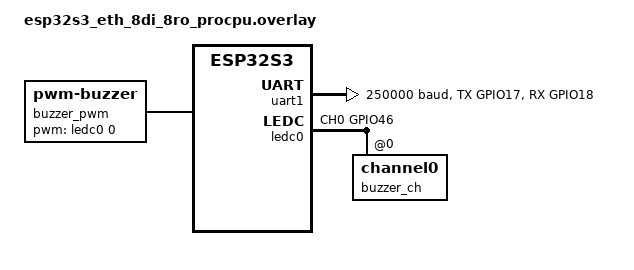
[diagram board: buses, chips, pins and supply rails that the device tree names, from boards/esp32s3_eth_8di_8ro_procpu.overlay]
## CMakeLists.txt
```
# Copyright (C) 2025 - 2026 Wolfenbütteler Kultur- und Veranstaltungsgesellschaft gemeinnützige UG (haftungsbeschränkt)
# SPDX-License-Identifier: Apache-2.0

cmake_minimum_required(VERSION 3.20.0)

# Circumvent Windows commandline length exceeded
SET(CMAKE_C_USE_RESPONSE_FILE_FOR_OBJECTS 1)
SET(CMAKE_CXX_USE_RESPONSE_FILE_FOR_OBJECTS 1)

SET(CMAKE_C_RESPONSE_FILE_LINK_FLAG "@")
SET(CMAKE_CXX_RESPONSE_FILE_LINK_FLAG "@")

SET(CMAKE_NINJA_FORCE_RESPONSE_FILE 1 CACHE INTERNAL "")

# Zephyr cmake commands

find_package(Zephyr REQUIRED HINTS $ENV{ZEPHYR_BASE})
project(blinky)

target_sources(app PRIVATE src/main.c)
target_sources(app PRIVATE src/modules/config/config.c)
target_sources(app PRIVATE src/modules/net/mqtt_subscriber.c)

add_subdirectory(../dmx-z ${CMAKE_BINARY_DIR}/dmx-z)
add_subdirectory(src/modules/output/dmx)
add_subdirectory(src/modules/output/sound)
add_subdirectory(src/modules/show)
add_subdirectory(src/modules/zbus)
```

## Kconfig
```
# SPDX-License-Identifier: Apache-2.0
source "Kconfig.zephyr"
rsource "../dmx-z/Kconfig"
```

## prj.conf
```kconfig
# Copyright (C) 2025 - 2026 Wolfenbütteler Kultur- und Veranstaltungsgesellschaft gemeinnützige UG (haftungsbeschränkt)
# SPDX-License-Identifier: GPL-2.0-only

# ESP32S3 support
CONFIG_HEAP_MEM_POOL_SIZE=65000
CONFIG_PINCTRL=y

# Peripherals
CONFIG_GPIO=y
CONFIG_LED_STRIP=y
CONFIG_LED=y

# Shell
CONFIG_SERIAL=y
CONFIG_CONSOLE=y
CONFIG_UART_CONSOLE=y
CONFIG_SHELL=y
CONFIG_LED_SHELL=y
CONFIG_GPIO_SHELL=y
CONFIG_SHELL_BACKEND_SERIAL=y
CONFIG_SPI_SHELL=y
CONFIG_HWINFO_SHELL=y
CONFIG_DEVICE_SHELL=y
CONFIG_NET_L2_WIFI_SHELL=y

# Logging
CONFIG_LOG=y
CONFIG_DISPLAY_LOG_LEVEL_DBG=n
CONFIG_I2C_LOG_LEVEL_DBG=n
CONFIG_ETHERNET_LOG_LEVEL_DBG=n
CONFIG_LED_STRIP_LOG_LEVEL_DBG=y

# Network

CONFIG_SPI=y

CONFIG_NETWORKING=y

CONFIG_NET_L2_ETHERNET=y
CONFIG_ETH_DRIVER=y
CONFIG_ETH_W5500=y

CONFIG_NET_SHELL=y

CONFIG_NET_TCP=y
CONFIG_NET_SOCKETS=y
CONFIG_POSIX_API=y
CONFIG_MQTT_LIB=y
CONFIG_NET_CONFIG_SETTINGS=y
CONFIG_NET_CONFIG_INIT_TIMEOUT=0

CONFIG_NET_IPV6=n
CONFIG_NET_IPV4=y
CONFIG_NET_CONFIG_MY_IPV4_ADDR="192.168.2.133"
CONFIG_NET_CONFIG_MY_IPV4_NETMASK="255.255.255.0"
CONFIG_NET_CONFIG_MY_IPV4_GW="192.168.2.1"
CONFIG_NET_CONFIG_AUTO_INIT=y
CONFIG_NET_CONFIG_NEED_IPV4=y

CONFIG_NET_DHCPV4=n

CONFIG_DNS_RESOLVER=y
CONFIG_DNS_SERVER_IP_ADDRESSES=y
CONFIG_DNS_SERVER1="8.8.8.8"

# Wifi
CONFIG_WIFI=y
CONFIG_INIT_STACKS=y
CONFIG_NET_L2_WIFI_MGMT=y

# SD Card
CONFIG_SDHC_ESP32=y
CONFIG_DISK_ACCESS=y
CONFIG_FAT_FILESYSTEM_ELM=y
CONFIG_FILE_SYSTEM=y
CONFIG_FILE_SYSTEM_MKFS=y
CONFIG_FS_FATFS_MKFS=y

CONFIG_LOG_PROCESS_THREAD_STACK_SIZE=2048
CONFIG_SHELL_STACK_SIZE=4096

# Relays & RTC
CONFIG_I2C=y
CONFIG_I2C_ESP32=y
CONFIG_GPIO_PCA953X=y

# RTC
CONFIG_RTC=y
CONFIG_RTC_PCF85063A=y

# modbus

CONFIG_MODBUS=y
CONFIG_MODBUS_ROLE_CLIENT=y
CONFIG_MODBUS_SERIAL=y
CONFIG_MODBUS_LOG_LEVEL_DBG=y
CONFIG_UART_USE_RUNTIME_CONFIGURE=y

# dmx-z shared driver (TX only)
CONFIG_DMX_Z=y
CONFIG_DMX_TX=y
CONFIG_DMX_RX=n

# Configuration

CONFIG_JSON_LIBRARY=y

# DMX512 on UART1 / RS485 (driver in drivers/dmx/)
CONFIG_UART_LINE_CTRL=y
CONFIG_ZBUS=y
CONFIG_MAIN_STACK_SIZE=4096

# Buzzer subsystem (passive piezo via LEDC PWM)
CONFIG_PWM=y
CONFIG_BUZZER=y
CONFIG_BUZZER_PWM=y

# Disable WiFi — only Ethernet is used
CONFIG_WIFI=n
CONFIG_NET_L2_WIFI_SHELL=n
CONFIG_NET_L2_WIFI_MGMT=n
```

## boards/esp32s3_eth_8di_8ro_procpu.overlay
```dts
/*
 * Board overlay: enable UART1 as DMX512 output on the RS485 transceiver.
 * TX=GPIO17, RX=GPIO18, hardware half-duplex DE/RE handled by transceiver.
 *
 * Baud is set to a placeholder here (250000 is DMX). The actual runtime
 * config (250000 8N2) is applied via uart_configure() at boot.
 */

#include <dt-bindings/pinctrl/esp32s3-pinctrl.h>
#include <zephyr/dt-bindings/pinctrl/esp-pinctrl-common.h>
#include <zephyr/dt-bindings/pinctrl/esp32s3-gpio-sigmap.h>
#include <zephyr/dt-bindings/pwm/pwm.h>

&pinctrl {
	uart1_dmx: uart1_dmx {
		group1 {
			pinmux = <UART1_TX_GPIO17>;
			output-high;
		};
		group2 {
			pinmux = <UART1_RX_GPIO18>;
			bias-pull-up;
		};
	};

	ledc0_buzzer: ledc0_buzzer {
		group1 {
			pinmux = <LEDC_CH0_GPIO46>;
			output-enable;
		};
	};
};

/ {
	aliases {
		dmx-uart = &uart1;
	};

	/*
	 * Retire the base board's gpio-leds buzzer node so we can reclaim
	 * GPIO46 for LEDC PWM below without a pinctrl fight.
	 */
	/delete-node/ buzzer;
};

&uart1 {
	status = "okay";
	compatible = "espressif,esp32-uart";
	pinctrl-0 = <&uart1_dmx>;
	pinctrl-names = "default";
	current-speed = <250000>;
};

/*
 * Retarget the on-board buzzer (GPIO46 = gpio1 pin 14) from the base board's
 * gpio-leds node to Zephyr's pwm-buzzer subsystem, driven by LEDC channel 0.
 */
&ledc0 {
	status = "okay";
	pinctrl-0 = <&ledc0_buzzer>;
	pinctrl-names = "default";
	#address-cells = <1>;
	#size-cells = <0>;

	buzzer_ch: channel0@0 {
		reg = <0x0>;
		timer = <0>;
	};
};

/ {
	buzzer_pwm: buzzer_pwm {
		compatible = "pwm-buzzer";
		pwms = <&ledc0 0 PWM_HZ(2700) PWM_POLARITY_NORMAL>;
		status = "okay";
	};

	aliases {
		buzzer0 = &buzzer_pwm;
	};
};

/ {
	aliases {
		/delete-property/ buzzer;
	};
};
```

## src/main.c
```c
/*
 * Copyright (C) 2025 - 2026 Wolfenbütteler Kultur- und Veranstaltungsgesellschaft gemeinnützige UG (haftungsbeschränkt)
 *
 * SPDX-License-Identifier: Apache-2.0
 */

#include <errno.h>
#include <string.h>
#include <stdio.h>

#define LOG_LEVEL 4
#include <zephyr/logging/log.h>
LOG_MODULE_REGISTER(main);

#include <zephyr/kernel.h>
#include <zephyr/drivers/led_strip.h>
#include <zephyr/drivers/gpio.h>
#include <zephyr/device.h>
#include <zephyr/drivers/spi.h>
#include <zephyr/drivers/buzzer.h>
#include <zephyr/sys/util.h>

#include "modules/config/config.h"
#include <dmx_z.h>
#include "modules/output/dmx/moving_head.h"
#include "modules/output/dmx/rgbw_par.h"
#include "modules/output/sound/sound.h"
#include "modules/show/show.h"
#include "modules/net/mqtt_subscriber.h"
#include "modules/zbus/ctrl_zbus.h"

#define STRIP_NODE DT_ALIAS(led_strip)

#if DT_NODE_HAS_PROP(DT_ALIAS(led_strip), chain_length)
#define STRIP_NUM_PIXELS DT_PROP(DT_ALIAS(led_strip), chain_length)
#else
#error Unable to determine length of LED strip
#endif

#define DELAY_TIME K_MSEC(500)

#define RGB(_r, _g, _b) {.r = (_r), .g = (_g), .b = (_b)}

static const struct led_rgb colors[] = {
	RGB(0xff, 0x00, 0x00), /* red */
	RGB(0x00, 0xff, 0x00), /* green */
	RGB(0x00, 0x00, 0xff), /* blue */
};
static struct led_rgb pixels[STRIP_NUM_PIXELS];

static const struct device *const strip = DEVICE_DT_GET(STRIP_NODE);

#define BUZZER_NODE DT_ALIAS(buzzer0)
static const struct device *const buzzer_dev = DEVICE_DT_GET(BUZZER_NODE);

#define USB_SERIAL_NODE DT_ALIAS(usb_serial)
static const struct device *esp_usb_serial_device = DEVICE_DT_GET(USB_SERIAL_NODE);

/*
 * Get button configuration from the devicetree boot-btn alias. This is mandatory.
 */
#define SW0_NODE DT_ALIAS(boot_btn)
#if !DT_NODE_HAS_STATUS_OKAY(SW0_NODE)
#error "Unsupported board: boot-btn devicetree alias is not defined"
#endif
static const struct gpio_dt_spec button = GPIO_DT_SPEC_GET_OR(SW0_NODE, gpios, {0});
static struct gpio_callback button_cb_data;
/*
 * Boot-button ISR: cycles through R/G/B colours across the LED strip
 * pixels one pixel at a time, with a short buzzer beep on each press.
 */
void button_pressed(const struct device *dev, struct gpio_callback *cb,
					uint32_t pins)
{

	size_t color = 0;
	int rc;
	printk("Button pressed at %" PRIu32 "\n", k_cycle_get_32());
	/* If we have an LED, match its state to the button's. */
	int val = gpio_pin_get_dt(&button);

	if (val > 0)
	{
		printk("Button pressed");
		buzzer_beep(buzzer_dev, 100);
		for (size_t cursor = 0; cursor < ARRAY_SIZE(pixels); cursor++)
		{
			memset(&pixels, 0x00, sizeof(pixels));
			memcpy(&pixels[cursor], &colors[color], sizeof(struct led_rgb));

			rc = led_strip_update_rgb(strip, pixels, STRIP_NUM_PIXELS);
			if (rc)
			{
				LOG_ERR("couldn't update strip: %d", rc);
			}

			k_sleep(DELAY_TIME);
		}

		color = (color + 1) % ARRAY_SIZE(colors);
	}
}

#define W5500_NODE DT_ALIAS(eth_w5500)
static const struct device *w5500_device = DEVICE_DT_GET(W5500_NODE);

// RTC
#define RTC_NODE DT_ALIAS(rtc)
static const struct device *rtc_device = DEVICE_DT_GET(RTC_NODE);

// TCA
#define TCA_NODE DT_ALIAS(tca)
static const struct device *tca_device = DEVICE_DT_GET(TCA_NODE);

int main(void)
{
	/* ── USB-serial console (ESP32 built-in) ────────────────────── */
	if (device_is_ready(esp_usb_serial_device))
	{
		LOG_INF("ESP USB Serial ready");
	}
	else
	{
		LOG_INF("ESP USB Serial not ready");
		return 0;
	}

	int ret;

	/* ── Boot button (GPIO interrupt, drives LED strip animation) ─ */
	if (!gpio_is_ready_dt(&button))
	{
		printk("Error: button device %s is not ready\n", button.port->name);
		return 0;
	}

	ret = gpio_pin_configure_dt(&button, GPIO_INPUT);
	if (ret != 0)
	{
		printk("Error %d: failed to configure %s pin %d\n", ret, button.port->name, button.pin);
		return 0;
	}

	ret = gpio_pin_interrupt_configure_dt(&button, GPIO_INT_EDGE_TO_ACTIVE);
	if (ret != 0)
	{
		printk("Error %d: failed to configure interrupt on %s pin %d\n", ret, button.port->name, button.pin);
		return 0;
	}

	gpio_init_callback(&button_cb_data, button_pressed, BIT(button.pin));
	gpio_add_callback(button.port, &button_cb_data);
	printk("Set up button at %s pin %d\n", button.port->name, button.pin);

	/* ── WS2812 RGB LED strip (SPI-based) ────────────────────────── */
	if (device_is_ready(strip))
	{
		LOG_INF("Found LED strip device %s", strip->name);
	}
	else
	{
		LOG_ERR("LED strip device %s is not ready", strip->name);
		return 0;
	}

	/* ── Piezo buzzer (LEDC PWM channel) ─────────────────────────── */
	if (!device_is_ready(buzzer_dev))
	{
		LOG_ERR("buzzer not ready");
		return 0;
	}

	/* ── SD card configuration ─────────────────────────────────── */
	config_init();

	/* ── DMX512 transmitter (UART1, RS485, 40 Hz refresh) ────────── */
	ret = dmx_tx_init();
	if (ret != 0) {
		LOG_ERR("dmx_tx_init failed: %d", ret);
	}

	/* Register DMX devices and apply configured start addresses. */
	moving_head_init();
	rgbw_par_init();
	mh_set_addr(0, config_dmx_start_addr());

	/* ── Buzzer song player (cooperative thread, prio 9) ─────────── */
	ret = sound_init();
	if (ret != 0) {
		LOG_ERR("sound_init failed: %d", ret);
	} else {
		struct sound_cmd cmd = { .type = SOUND_CMD_PLAY,
					 .song = startup_chime,
					 .len = startup_chime_len };
		zbus_chan_pub(&sound_chan, &cmd, K_NO_WAIT);
	}

	/* ── Light-show runner (cooperative thread, prio 8) ──────────── */
	show_init();

	/* ── Network servers (MQTT subscriber) ──── */
	mqtt_subscriber_init();

	/* ── Ethernet (W5500 over SPI) ────────────────────────────────── */
	if (device_is_ready(w5500_device))
	{
		LOG_INF("Ethernet ready");
	}
	else
	{
		LOG_INF("Ethernet not ready");
		return 0;
	}

	/* ── PCF85063A RTC (I²C, battery-backed) ─────────────────────── */
	if (device_is_ready(rtc_device))
	{
		LOG_INF("rtc ready");
	}
	else
	{
		LOG_INF("rtc not ready");
		return 0;
	}

	/* ── PCA9538 GPIO expander (I²C, relay outputs) ──────────────── */
	if (device_is_ready(tca_device))
	{
		LOG_INF("tca ready");
	}
	else
	{
		LOG_INF("tca not ready");
		return 0;
	}

	return 0;
}
```
